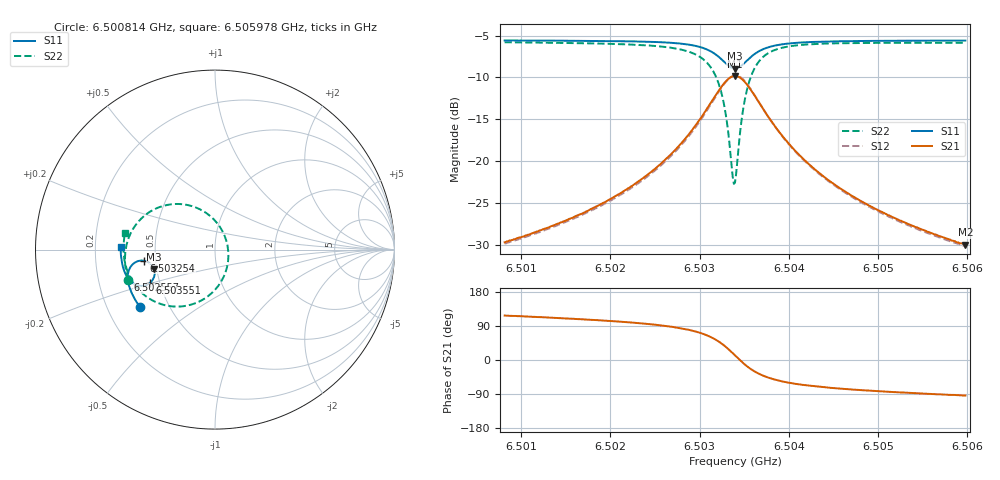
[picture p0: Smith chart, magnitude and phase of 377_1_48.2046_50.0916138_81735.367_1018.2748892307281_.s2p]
#  HZ  S  RI  R  50.00
! Rohde & Schwarz Vector Network Analyzer
! Rohde-Schwarz,ZNB20-2Port,1311601062101988,3.16
! Created: UTC 3/20/2024, 11:52:56 AM
! freq[Hz]  re:S11  im:S11  re:S21  im:S21  re:S12  im:S12  re:S22  im:S22
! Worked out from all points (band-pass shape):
!   401 points, 6.500814 GHz to 6.505978 GHz, reference 50 ohm
!   highest |S21| = -9.82 dB at 6.503396 GHz (marker M1); lowest = -30.0 dB at 6.505978 GHz (marker M2)
!   |S21| within 3 dB of the highest: 6.503138 GHz to 6.503654 GHz (515.7 kHz wide, 0.00793 % of centre)
!   lowest |S11| = -9.0 dB at 6.503396 GHz (marker M3), VSWR 2.11, Z = 24.2 - j6.08 ohm
!   |S11| at or under -10 dB: nowhere
!   |S22| runs from -22.7 to -5.8 dB; largest |S21 - S12| = 0.011
!   S11 on the Smith chart (normalised r, x): 6.500814 GHz: 0.34, -0.30; 6.502557 GHz: 0.33, -0.15; 6.503254 GHz: 0.43, -0.06; 6.503551 GHz: 0.44, -0.20; 6.505978 GHz: 0.31, +0.01
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6.5008138e9  -0.42 -0.3176  -0.015 0.029  -0.0134 0.0292  -0.4856 -0.1666
6.5016787e9  -0.4581 -0.2547  -0.0145 0.0461  -0.0123 0.046  -0.5011 -0.0768
6.5021435e9  -0.475 -0.2145  -0.012 0.0647  -0.00902 0.0636  -0.4997 -0.0129
6.5025437e9  -0.4851 -0.1715  -0.0032 0.0941  0.000334 0.0919  -0.4815 0.0642
6.5025566e9  -0.4853 -0.1698  -0.00266 0.0955  0.000894 0.0932  -0.4802 0.0673
6.5028019e9  -0.4849 -0.1346  0.0152 0.1283  0.0189 0.1245  -0.4425 0.1365
6.5029826e9  -0.4737 -0.1014  0.0494 0.1643  0.0527 0.1588  -0.3751 0.2024
6.5031504e9  -0.4395 -0.0684  0.126 0.1974  0.1272 0.1909  -0.2347 0.2535
6.5032537e9  -0.3973 -0.0613  0.2103 0.189  0.2105 0.1837  -0.0881 0.2265
6.5033053e9  -0.372 -0.0697  0.2582 0.1615  0.2589 0.1571  -0.0084 0.1703
6.5033699e9  -0.3457 -0.0955  0.3055 0.0991  0.3078 0.0942  0.0629 0.0502
6.5033957e9  -0.3393 -0.1098  0.3157 0.0675  0.3186 0.0618  0.0737 -0.00851
6.5034086e9  -0.3375 -0.1175  0.3185 0.051  0.3215 0.0448  0.0745 -0.0389
6.5034861e9  -0.3433 -0.1616  0.3019 -0.0422  0.304 -0.0518  0.0185 -0.2017
6.5035506e9  -0.364 -0.1871  0.2601 -0.0956  0.2589 -0.1065  -0.076 -0.2833
6.5036539e9  -0.4029 -0.202  0.1868 -0.1316  0.1817 -0.1408  -0.2231 -0.3173
6.5038217e9  -0.4484 -0.1923  0.1067 -0.1289  0.1 -0.1338  -0.3676 -0.272
6.5040025e9  -0.4753 -0.1709  0.0629 -0.1094  0.0568 -0.1115  -0.4385 -0.2083
6.5042607e9  -0.4961 -0.1409  0.0335 -0.0857  0.0289 -0.0862  -0.4814 -0.1369
6.5046609e9  -0.512 -0.0999  0.0143 -0.0625  0.0112 -0.0621  -0.504 -0.0605
6.5051256e9  -0.521 -0.0573  0.00509 -0.047  0.00272 -0.0462  -0.5098 0.00314
6.5059777e9  -0.5258 0.0143  -0.00207 -0.0315  -0.00338 -0.0308  -0.5016 0.0915
